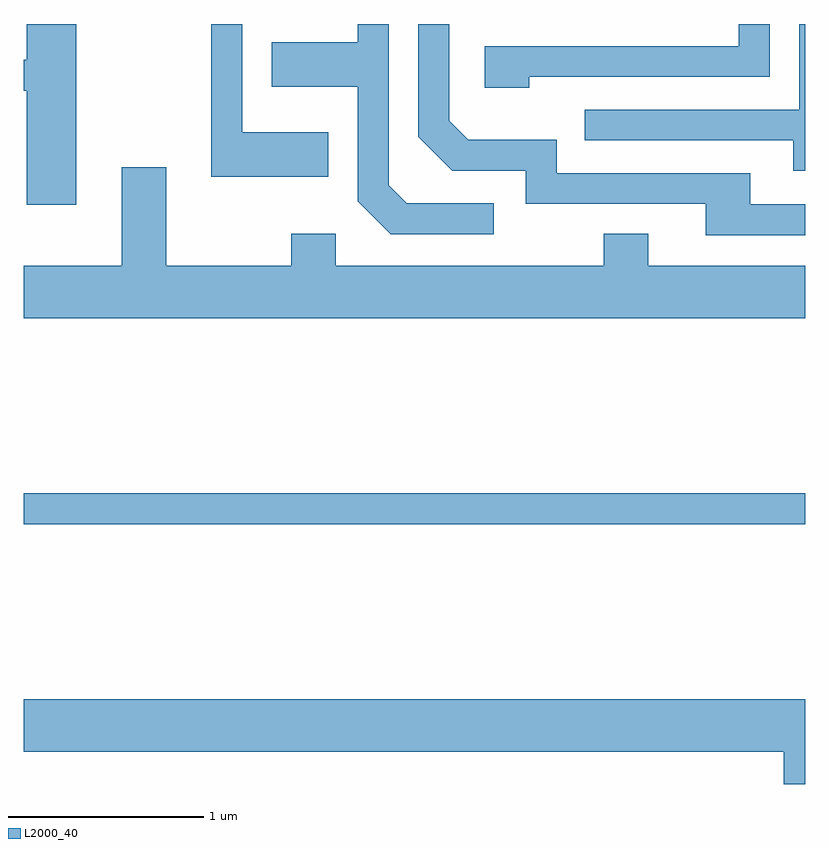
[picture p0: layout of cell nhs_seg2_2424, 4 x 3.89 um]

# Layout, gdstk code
import gdstk
lib = gdstk.Library(unit=1e-6, precision=1e-09)
def R(c, l, rs):  # rectangles x0, y0, x1, y1
    for r in rs: c.add(gdstk.rectangle(r[:2], r[2:], *l))
def P(c, l, *ps):  # polygons
    for p in ps: c.add(gdstk.Polygon(p, *l))
L2000_40 = (2000, 40)

nhs_seg2_2424 = lib.new_cell('nhs_seg2_2424')
R(nhs_seg2_2424, L2000_40, [(255.611,1067.241,259.611,1067.399)])
P(nhs_seg2_2424, L2000_40, [(258.199,1069.531),(259.429,1069.531),(259.429,1069.802),(259.271,1069.802),(259.271,1069.689),(257.971,1069.689),(257.971,1069.476),(258.199,1069.476)],
  [(259.611,1068.879),(259.329,1068.879),(259.329,1069.039),(258.339,1069.039),(258.339,1069.209),(257.887,1069.209),(257.789,1069.307),(257.789,1069.802),(257.631,1069.802),(257.631,1069.224),(257.804,1069.051),(258.181,1069.051),(258.181,1068.881),(259.101,1068.881),(259.101,1068.721),(259.611,1068.721)],
  [(258.017,1068.884),(257.572,1068.884),(257.479,1068.977),(257.479,1069.802),(257.321,1069.802),(257.321,1069.709),(256.881,1069.709),(256.881,1069.481),(257.321,1069.481),(257.321,1068.894),(257.489,1068.726),(258.017,1068.726)],
  [(255.879,1069.802),(255.626,1069.802),(255.626,1069.619),(255.611,1069.619),(255.611,1069.461),(255.626,1069.461),(255.626,1068.876),(255.879,1068.876)],
  [(257.169,1069.249),(256.729,1069.249),(256.729,1069.802),(256.571,1069.802),(256.571,1069.021),(257.169,1069.021)],
  [(259.611,1069.802),(259.581,1069.802),(259.581,1069.364),(258.483,1069.364),(258.483,1069.206),(259.551,1069.206),(259.551,1069.051),(259.611,1069.051)],
  [(259.611,1068.564),(258.809,1068.564),(258.809,1068.729),(258.581,1068.729),(258.581,1068.564),(257.209,1068.564),(257.209,1068.729),(256.981,1068.729),(256.981,1068.564),(256.339,1068.564),(256.339,1069.069),(256.111,1069.069),(256.111,1068.564),(255.611,1068.564),(255.611,1068.296),(259.611,1068.296)],
  [(259.611,1066.344),(255.611,1066.344),(255.611,1066.076),(259.501,1066.076),(259.501,1065.911),(259.611,1065.911)])

lib.write_gds('nhs_seg2_2424.gds')
